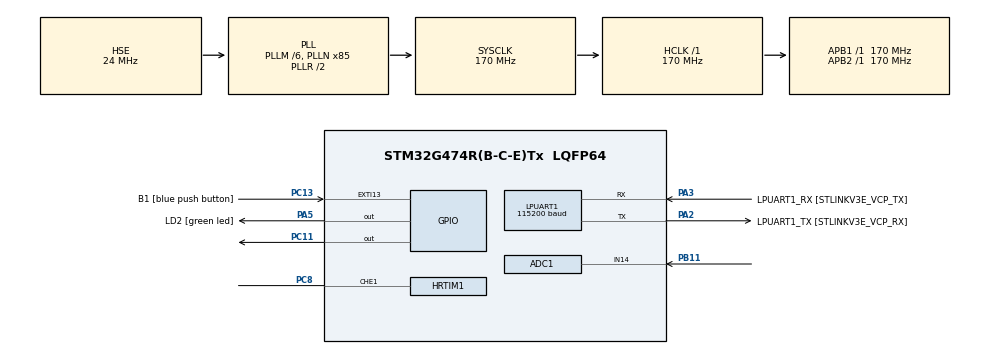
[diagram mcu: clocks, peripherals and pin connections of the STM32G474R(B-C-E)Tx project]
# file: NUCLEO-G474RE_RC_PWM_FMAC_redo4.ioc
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Mcu.Family=STM32G4
HRTIM1.NumberSetSource1-Output_TE1=1
RCC.CortexFreq_Value=170000000
ADC1.ContinuousConvMode=DISABLE
VP_FMAC_VS_FMAC.Mode=FMAC_Activate
Dma.ADC1.0.Polarity=HAL_DMAMUX_REQ_GEN_RISING
PA14.GPIO_Label=T_SWCLK
LPUART1.WordLength=UART_WORDLENGTH_8B
PC13.GPIO_Label=B1 [blue push button]
PB11.Signal=ADC1_IN14
RCC.SYSCLKSource=RCC_SYSCLKSOURCE_PLLCLK
ProjectManager.StackSize=0x400
Mcu.UserConstants=Vtarget,3000
ADC1.Offset-0\#ChannelRegularConversion=Vtarget
RCC.HCLKFreq_Value=170000000
RCC.APB2TimFreq_Value=170000000
Dma.ADC1.0.Direction=DMA_PERIPH_TO_MEMORY
Dma.ADC1.0.MemDataAlignment=DMA_MDATAALIGN_WORD
RCC.AHBFreq_Value=170000000
HRTIM1.NumberResetSource1-Output_TE1=1
NVIC.EXTI15_10_IRQn=true\:0\:0\:false\:false\:true\:true\:true
ADC1.Channel-0\#ChannelRegularConversion=ADC_CHANNEL_14
RCC.HSE_VALUE=24000000
PB3.Mode=Trace_Asynchronous_SW
RCC.ADC12Freq_Value=170000000
RCC.RTCClockSelection=RCC_RTCCLKSOURCE_LSE
PC14-OSC32_IN.Mode=LSE-External-Oscillator
PA14.Mode=Trace_Asynchronous_SW
Dma.ADC1.0.PeriphInc=DMA_PINC_DISABLE
VP_SYS_VS_DBSignals.Mode=DisableDeadBatterySignals
HRTIM1.ResetOutput1_Source1-Output_TE1=HRTIM_OUTPUTRESET_TIMCMP1
ADC1.SamplingTime-0\#ChannelRegularConversion=ADC_SAMPLETIME_24CYCLES_5
Mcu.Package=LQFP64
PA2.GPIO_Label=LPUART1_TX [STLINKV3E_VCP_RX]
HRTIM1.ADCTrigger1_Source1=HRTIM_ADCTRIGGEREVENT13_TIMERE_PERIOD
HRTIM1.NumberADCTriggerSource1=1
RCC.APB1TimFreq_Value=170000000
PF1-OSC_OUT.Mode=HSE-External-Oscillator
Dma.Request0=ADC1
ADC1.OffsetSign-0\#ChannelRegularConversion=ADC_OFFSET_SIGN_NEGATIVE
Dma.ADC1.0.EventEnable=DISABLE
PF1-OSC_OUT.Signal=RCC_OSC_OUT
RCC.HSI48_VALUE=48000000
PA3.Signal=LPUART1_RX
PB3.GPIO_Label=T_SWO
RCC.PLLSourceVirtual=RCC_PLLSOURCE_HSE
PC15-OSC32_OUT.Mode=LSE-External-Oscillator
Dma.ADC1.0.Instance=DMA1_Channel1
ADC1.Rank-0\#ChannelRegularConversion=1
Dma.ADC1.0.SyncRequestNumber=1
ADC1.OffsetNumber-0\#ChannelRegularConversion=ADC_OFFSET_1
PC13.Signal=GPXTI13
PC11.Signal=GPIO_Output
PC8.Signal=HRTIM1_CHE1
RCC.EXTERNAL_CLOCK_VALUE=12288000
PC14-OSC32_IN.Signal=RCC_OSC32_IN
HRTIM1.PrescalerRatio_TE=HRTIM_PRESCALERRATIO_MUL8
HRTIM1.CompareUnit1-Output_TE1=HRTIM_COMPAREUNIT_1
PA13.Signal=SYS_JTMS-SWDIO
PA3.Mode=Asynchronous
Dma.ADC1.0.PeriphDataAlignment=DMA_PDATAALIGN_WORD
PB11.Mode=IN14-Single-Ended
ProjectManager.TargetToolchain=STM32CubeIDE
Dma.ADC1.0.Mode=DMA_CIRCULAR
Dma.ADC1.0.SignalID=NONE
Dma.ADC1.0.SyncSignalID=NONE
Dma.ADC1.0.Priority=DMA_PRIORITY_MEDIUM
RCC.USBFreq_Value=170000000
PC15-OSC32_OUT.Signal=RCC_OSC32_OUT
PF0-OSC_IN.Mode=HSE-External-Oscillator
PA5.Signal=GPIO_Output
HRTIM1.ADCTrigger_Id1=HRTIM_ADCTRIGGER_1
board=NUCLEO-G474RE
RCC.VCOOutputFreq_Value=340000000
Dma.ADC1.0.SyncPolarity=HAL_DMAMUX_SYNC_NO_EVENT
RCC.ADC345Freq_Value=170000000
RCC.APB2Freq_Value=170000000
HRTIM1.CompareValue1-Output_TE1=8
NVIC.FMAC_IRQn=true\:0\:0\:false\:false\:true\:true\:true
ADC1.DMAContinuousRequests=ENABLE
PA13.Mode=Trace_Asynchronous_SW
Mcu.Name=STM32G474R(B-C-E)Tx
LPUART1.BaudRate=115200
HRTIM1.SetOutput1_Source1-Output_TE1=HRTIM_OUTPUTSET_TIMPER
PA13.GPIO_Label=T_SWDIO
PA2.Signal=LPUART1_TX
ADC1.ExternalTrigConv=ADC_EXTERNALTRIG_HRTIM_TRG1
PC8.Mode=Output_TE1
PC8.GPIO_Speed_High_Default=GPIO_SPEED_FREQ_LOW
PB3.Signal=SYS_JTDO-SWO
RCC.SYSCLKFreq_VALUE=170000000
ADC1.master=1
PA5.GPIO_Label=LD2 [green led]
Dma.ADC1.0.RequestNumber=1
Dma.ADC1.0.SyncEnable=DISABLE
PA14.Signal=SYS_JTCK-SWCLK
Dma.ADC1.0.MemInc=DMA_MINC_ENABLE
ProjectManager.HeapSize=0x200
RCC.HSI_VALUE=16000000
NVIC.PriorityGroup=NVIC_PRIORITYGROUP_4
ADC1.NbrOfConversionFlag=1
RCC.PLLM=RCC_PLLM_DIV6
RCC.PLLN=85
PA2.Mode=Asynchronous
NVIC.DMA1_Channel1_IRQn=true\:0\:0\:false\:false\:true\:false\:true
PF0-OSC_IN.Signal=RCC_OSC_IN
RCC.APB1Freq_Value=170000000
HRTIM1.Periode_TE=27200
PA3.GPIO_Label=LPUART1_RX [STLINKV3E_VCP_TX]

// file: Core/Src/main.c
/* USER CODE BEGIN Header */
/**
  ******************************************************************************
  * @file           : main.c
  * @brief          : Main program body
  ******************************************************************************
  * @attention
  *
  * <h2><center>&copy; Copyright (c) 2021 STMicroelectronics.
  * All rights reserved.</center></h2>
  *
  * This software component is licensed by ST under BSD 3-Clause license,
  * the "License"; You may not use this file except in compliance with the
  * License. You may obtain a copy of the License at:
  *                        opensource.org/licenses/BSD-3-Clause
  *
  ******************************************************************************
  */
/* USER CODE END Header */
#include "main.h"

ADC_HandleTypeDef hadc1;
DMA_HandleTypeDef hdma_adc1;

FMAC_HandleTypeDef hfmac;

HRTIM_HandleTypeDef hhrtim1;

UART_HandleTypeDef hlpuart1;

/* USER CODE BEGIN PV */

uint32_t adc_data;

/* FMAC configuration structure */
FMAC_FilterConfigTypeDef sFmacConfig;

/* Array of filter coefficients A (feedback coefficients) in Q1.15 format */
static int16_t aFilterCoeffA[COEFF_VECTOR_A_SIZE] = {A1,A2,A3};

/* Array of filter coefficients B (feed-forward taps) in Q1.15 format */
static int16_t aFilterCoeffB[COEFF_VECTOR_B_SIZE] = {-B0,-B1,-B2,-B3};

/* Array of output data to preload in Q1.15 format */
static int16_t aOutputDataToPreload[COEFF_VECTOR_A_SIZE] = {0x0000, 0x0000, 0x0000};

/* Expected number of calculated samples */
uint16_t ExpectedCalculatedOutputSize = (uint16_t) 1;
uint32_t *Fmac_Wdata;
int16_t Fmac_output;

/* USER CODE END PV */

void SystemClock_Config(void);
static void MX_GPIO_Init(void);
static void MX_DMA_Init(void);
static void MX_LPUART1_UART_Init(void);
static void MX_HRTIM1_Init(void);
static void MX_ADC1_Init(void);
static void MX_FMAC_Init(void);
/* USER CODE BEGIN PFP */

volatile void VT_FMAC_Controller(void);

/* USER CODE END PFP */

int main(void)
{

  /* MCU Configuration--------------------------------------------------------*/

  /* Reset of all peripherals, Initializes the Flash interface and the Systick. */
  HAL_Init();

  /* Configure the system clock */
  SystemClock_Config();

  /* Initialize all configured peripherals */
  MX_GPIO_Init();
  MX_DMA_Init();
  MX_LPUART1_UART_Init();
  MX_HRTIM1_Init();
  MX_ADC1_Init();
  MX_FMAC_Init();
  /* USER CODE BEGIN 2 */

  /*## Configure the FMAC peripheral ###########################################*/
  sFmacConfig.InputBaseAddress  = INPUT_BUFFER_BASE;
  sFmacConfig.InputBufferSize   = INPUT_BUFFER_SIZE;
  sFmacConfig.InputThreshold    = INPUT_THRESHOLD;
  sFmacConfig.CoeffBaseAddress  = COEFFICIENT_BUFFER_BASE;
  sFmacConfig.CoeffBufferSize   = COEFFICIENT_BUFFER_SIZE;
  sFmacConfig.OutputBaseAddress = OUTPUT_BUFFER_BASE;
  sFmacConfig.OutputBufferSize  = OUTPUT_BUFFER_SIZE;
  sFmacConfig.OutputThreshold   = OUTPUT_THRESHOLD;
  sFmacConfig.pCoeffA           = aFilterCoeffA;
  sFmacConfig.CoeffASize        = COEFF_VECTOR_A_SIZE;
  sFmacConfig.pCoeffB           = aFilterCoeffB;
  sFmacConfig.CoeffBSize        = COEFF_VECTOR_B_SIZE;
  sFmacConfig.Filter            = FMAC_FUNC_IIR_DIRECT_FORM_1;
  sFmacConfig.InputAccess       = FMAC_BUFFER_ACCESS_NONE;
  sFmacConfig.OutputAccess      = FMAC_BUFFER_ACCESS_IT;
  sFmacConfig.Clip              = FMAC_CLIP_ENABLED;
  sFmacConfig.P                 = COEFF_VECTOR_B_SIZE;
  sFmacConfig.Q                 = COEFF_VECTOR_A_SIZE;
  sFmacConfig.R                 = KC_shift;

  if (HAL_FMAC_FilterConfig(&hfmac, &sFmacConfig) != HAL_OK)
  {
    /* Configuration Error */
    Error_Handler();
  }

  /*## Preload the input and output buffers ####################################*/
  if (HAL_FMAC_FilterPreload(&hfmac, NULL, INPUT_BUFFER_SIZE,
                             aOutputDataToPreload, COEFF_VECTOR_A_SIZE) != HAL_OK)
  {
    /* Configuration Error */
    Error_Handler();
  }
  /* Start calculation of IIR filter */
   if (HAL_FMAC_FilterStart(&hfmac,&Fmac_output,&ExpectedCalculatedOutputSize) != HAL_OK)
  {
    /* Processing Error */
    Error_Handler();
  }

	/* Run the ADC calibration in single-ended mode */
	if (HAL_ADCEx_Calibration_Start(&hadc1, ADC_SINGLE_ENDED) != HAL_OK)
	{
		/* Calibration Error */
		Error_Handler();
	}

//	/*##- Enable Regular ADC DMA Channel ##############################*/
//	if (HAL_ADC_Start_DMA(&hadc1, &adc_data, 1) != HAL_OK)
//	{
//		/* ADC conversion start error */
//		Error_Handler();
//	}

	/* Start ADC and DMA */
	Fmac_Wdata = (uint32_t *) FMAC_WDATA;
	HAL_ADC_Start_DMA(&hadc1,Fmac_Wdata,1);

		if(HAL_OK != HAL_HRTIM_WaveformOutputStart(&hhrtim1, HRTIM_OUTPUT_TE1))
	{
		Error_Handler();
	}

	if(HAL_OK != HAL_HRTIM_WaveformCounterStart(&hhrtim1, HRTIM_TIMERID_TIMER_E))
	{
		Error_Handler();
	}

  /* USER CODE END 2 */

  /* Infinite loop */
  while (1)
  {

  }
}

void SystemClock_Config(void)
{
  RCC_OscInitTypeDef RCC_OscInitStruct = {0};
  RCC_ClkInitTypeDef RCC_ClkInitStruct = {0};
  RCC_PeriphCLKInitTypeDef PeriphClkInit = {0};

  /** Configure the main internal regulator output voltage
  */
  HAL_PWREx_ControlVoltageScaling(PWR_REGULATOR_VOLTAGE_SCALE1_BOOST);
  /** Initializes the RCC Oscillators according to the specified parameters
  * in the RCC_OscInitTypeDef structure.
  */
  RCC_OscInitStruct.OscillatorType = RCC_OSCILLATORTYPE_HSE;
  RCC_OscInitStruct.HSEState = RCC_HSE_ON;
  RCC_OscInitStruct.PLL.PLLState = RCC_PLL_ON;
  RCC_OscInitStruct.PLL.PLLSource = RCC_PLLSOURCE_HSE;
  RCC_OscInitStruct.PLL.PLLM = RCC_PLLM_DIV6;
  RCC_OscInitStruct.PLL.PLLN = 85;
  RCC_OscInitStruct.PLL.PLLP = RCC_PLLP_DIV2;
  RCC_OscInitStruct.PLL.PLLQ = RCC_PLLQ_DIV2;
  RCC_OscInitStruct.PLL.PLLR = RCC_PLLR_DIV2;
  if (HAL_RCC_OscConfig(&RCC_OscInitStruct) != HAL_OK)
  {
    Error_Handler();
  }
  /** Initializes the CPU, AHB and APB buses clocks
  */
  RCC_ClkInitStruct.ClockType = RCC_CLOCKTYPE_HCLK|RCC_CLOCKTYPE_SYSCLK
                              |RCC_CLOCKTYPE_PCLK1|RCC_CLOCKTYPE_PCLK2;
  RCC_ClkInitStruct.SYSCLKSource = RCC_SYSCLKSOURCE_PLLCLK;
  RCC_ClkInitStruct.AHBCLKDivider = RCC_SYSCLK_DIV1;
  RCC_ClkInitStruct.APB1CLKDivider = RCC_HCLK_DIV1;
  RCC_ClkInitStruct.APB2CLKDivider = RCC_HCLK_DIV1;

  if (HAL_RCC_ClockConfig(&RCC_ClkInitStruct, FLASH_LATENCY_4) != HAL_OK)
  {
    Error_Handler();
  }
  /** Initializes the peripherals clocks
  */
  PeriphClkInit.PeriphClockSelection = RCC_PERIPHCLK_LPUART1|RCC_PERIPHCLK_ADC12;
  PeriphClkInit.Lpuart1ClockSelection = RCC_LPUART1CLKSOURCE_PCLK1;
  PeriphClkInit.Adc12ClockSelection = RCC_ADC12CLKSOURCE_SYSCLK;
  if (HAL_RCCEx_PeriphCLKConfig(&PeriphClkInit) != HAL_OK)
  {
    Error_Handler();
  }
}

static void MX_ADC1_Init(void)
{

  ADC_MultiModeTypeDef multimode = {0};
  ADC_ChannelConfTypeDef sConfig = {0};

  /** Common config
  */
  hadc1.Instance = ADC1;
  hadc1.Init.ClockPrescaler = ADC_CLOCK_SYNC_PCLK_DIV4;
  hadc1.Init.Resolution = ADC_RESOLUTION_12B;
  hadc1.Init.DataAlign = ADC_DATAALIGN_RIGHT;
  hadc1.Init.GainCompensation = 0;
  hadc1.Init.ScanConvMode = ADC_SCAN_DISABLE;
  hadc1.Init.EOCSelection = ADC_EOC_SINGLE_CONV;
  hadc1.Init.LowPowerAutoWait = DISABLE;
  hadc1.Init.ContinuousConvMode = DISABLE;
  hadc1.Init.NbrOfConversion = 1;
  hadc1.Init.DiscontinuousConvMode = DISABLE;
  hadc1.Init.ExternalTrigConv = ADC_EXTERNALTRIG_HRTIM_TRG1;
  hadc1.Init.ExternalTrigConvEdge = ADC_EXTERNALTRIGCONVEDGE_RISING;
  hadc1.Init.DMAContinuousRequests = ENABLE;
  hadc1.Init.Overrun = ADC_OVR_DATA_PRESERVED;
  hadc1.Init.OversamplingMode = DISABLE;
  if (HAL_ADC_Init(&hadc1) != HAL_OK)
  {
    Error_Handler();
  }
  /** Configure the ADC multi-mode
  */
  multimode.Mode = ADC_MODE_INDEPENDENT;
  if (HAL_ADCEx_MultiModeConfigChannel(&hadc1, &multimode) != HAL_OK)
  {
    Error_Handler();
  }
  /** Configure Regular Channel
  */
  sConfig.Channel = ADC_CHANNEL_14;
  sConfig.Rank = ADC_REGULAR_RANK_1;
  sConfig.SamplingTime = ADC_SAMPLETIME_24CYCLES_5;
  sConfig.SingleDiff = ADC_SINGLE_ENDED;
  sConfig.OffsetNumber = ADC_OFFSET_1;
  sConfig.Offset = Vtarget;
  sConfig.OffsetSign = ADC_OFFSET_SIGN_NEGATIVE;
  sConfig.OffsetSaturation = DISABLE;
  if (HAL_ADC_ConfigChannel(&hadc1, &sConfig) != HAL_OK)
  {
    Error_Handler();
  }

}

static void MX_FMAC_Init(void)
{

  hfmac.Instance = FMAC;
  if (HAL_FMAC_Init(&hfmac) != HAL_OK)
  {
    Error_Handler();
  }

}

static void MX_HRTIM1_Init(void)
{

  HRTIM_ADCTriggerCfgTypeDef pADCTriggerCfg = {0};
  HRTIM_TimeBaseCfgTypeDef pTimeBaseCfg = {0};
  HRTIM_TimerCtlTypeDef pTimerCtl = {0};
  HRTIM_TimerCfgTypeDef pTimerCfg = {0};
  HRTIM_CompareCfgTypeDef pCompareCfg = {0};
  HRTIM_OutputCfgTypeDef pOutputCfg = {0};

  hhrtim1.Instance = HRTIM1;
  hhrtim1.Init.HRTIMInterruptResquests = HRTIM_IT_NONE;
  hhrtim1.Init.SyncOptions = HRTIM_SYNCOPTION_NONE;
  if (HAL_HRTIM_Init(&hhrtim1) != HAL_OK)
  {
    Error_Handler();
  }
  if (HAL_HRTIM_DLLCalibrationStart(&hhrtim1, HRTIM_CALIBRATIONRATE_3) != HAL_OK)
  {
    Error_Handler();
  }
  if (HAL_HRTIM_PollForDLLCalibration(&hhrtim1, 10) != HAL_OK)
  {
    Error_Handler();
  }
  pADCTriggerCfg.UpdateSource = HRTIM_ADCTRIGGERUPDATE_TIMER_E;
  pADCTriggerCfg.Trigger = HRTIM_ADCTRIGGEREVENT13_TIMERE_PERIOD;
  if (HAL_HRTIM_ADCTriggerConfig(&hhrtim1, HRTIM_ADCTRIGGER_1, &pADCTriggerCfg) != HAL_OK)
  {
    Error_Handler();
  }
  if (HAL_HRTIM_ADCPostScalerConfig(&hhrtim1, HRTIM_ADCTRIGGER_1, 0x0) != HAL_OK)
  {
    Error_Handler();
  }
  pTimeBaseCfg.Period = 27200;
  pTimeBaseCfg.RepetitionCounter = 0x00;
  pTimeBaseCfg.PrescalerRatio = HRTIM_PRESCALERRATIO_MUL8;
  pTimeBaseCfg.Mode = HRTIM_MODE_CONTINUOUS;
  if (HAL_HRTIM_TimeBaseConfig(&hhrtim1, HRTIM_TIMERINDEX_TIMER_E, &pTimeBaseCfg) != HAL_OK)
  {
    Error_Handler();
  }
  pTimerCtl.UpDownMode = HRTIM_TIMERUPDOWNMODE_UP;
  pTimerCtl.GreaterCMP1 = HRTIM_TIMERGTCMP1_EQUAL;
  pTimerCtl.DualChannelDacEnable = HRTIM_TIMER_DCDE_DISABLED;
  if (HAL_HRTIM_WaveformTimerControl(&hhrtim1, HRTIM_TIMERINDEX_TIMER_E, &pTimerCtl) != HAL_OK)
  {
    Error_Handler();
  }
  pTimerCfg.InterruptRequests = HRTIM_MASTER_IT_NONE;
  pTimerCfg.DMARequests = HRTIM_TIM_DMA_NONE;
  pTimerCfg.DMASrcAddress = 0x0000;
  pTimerCfg.DMADstAddress = 0x0000;
  pTimerCfg.DMASize = 0x1;
  pTimerCfg.HalfModeEnable = HRTIM_HALFMODE_DISABLED;
  pTimerCfg.InterleavedMode = HRTIM_INTERLEAVED_MODE_DISABLED;
  pTimerCfg.StartOnSync = HRTIM_SYNCSTART_DISABLED;
  pTimerCfg.ResetOnSync = HRTIM_SYNCRESET_DISABLED;
  pTimerCfg.DACSynchro = HRTIM_DACSYNC_NONE;
  pTimerCfg.PreloadEnable = HRTIM_PRELOAD_DISABLED;
  pTimerCfg.UpdateGating = HRTIM_UPDATEGATING_INDEPENDENT;
  pTimerCfg.BurstMode = HRTIM_TIMERBURSTMODE_MAINTAINCLOCK;
  pTimerCfg.RepetitionUpdate = HRTIM_UPDATEONREPETITION_DISABLED;
  pTimerCfg.PushPull = HRTIM_TIMPUSHPULLMODE_DISABLED;
  pTimerCfg.FaultEnable = HRTIM_TIMFAULTENABLE_NONE;
  pTimerCfg.FaultLock = HRTIM_TIMFAULTLOCK_READWRITE;
  pTimerCfg.DeadTimeInsertion = HRTIM_TIMDEADTIMEINSERTION_DISABLED;
  pTimerCfg.DelayedProtectionMode = HRTIM_TIMER_D_E_DELAYEDPROTECTION_DISABLED;
  pTimerCfg.UpdateTrigger = HRTIM_TIMUPDATETRIGGER_NONE;
  pTimerCfg.ResetTrigger = HRTIM_TIMRESETTRIGGER_NONE;
  pTimerCfg.ResetUpdate = HRTIM_TIMUPDATEONRESET_DISABLED;
  pTimerCfg.ReSyncUpdate = HRTIM_TIMERESYNC_UPDATE_UNCONDITIONAL;
  if (HAL_HRTIM_WaveformTimerConfig(&hhrtim1, HRTIM_TIMERINDEX_TIMER_E, &pTimerCfg) != HAL_OK)
  {
    Error_Handler();
  }
  pCompareCfg.CompareValue = 8;
  if (HAL_HRTIM_WaveformCompareConfig(&hhrtim1, HRTIM_TIMERINDEX_TIMER_E, HRTIM_COMPAREUNIT_1, &pCompareCfg) != HAL_OK)
  {
    Error_Handler();
  }
  pOutputCfg.Polarity = HRTIM_OUTPUTPOLARITY_HIGH;
  pOutputCfg.SetSource = HRTIM_OUTPUTSET_TIMPER;
  pOutputCfg.ResetSource = HRTIM_OUTPUTRESET_TIMCMP1;
  pOutputCfg.IdleMode = HRTIM_OUTPUTIDLEMODE_NONE;
  pOutputCfg.IdleLevel = HRTIM_OUTPUTIDLELEVEL_INACTIVE;
  pOutputCfg.FaultLevel = HRTIM_OUTPUTFAULTLEVEL_NONE;
  pOutputCfg.ChopperModeEnable = HRTIM_OUTPUTCHOPPERMODE_DISABLED;
  pOutputCfg.BurstModeEntryDelayed = HRTIM_OUTPUTBURSTMODEENTRY_REGULAR;
  if (HAL_HRTIM_WaveformOutputConfig(&hhrtim1, HRTIM_TIMERINDEX_TIMER_E, HRTIM_OUTPUT_TE1, &pOutputCfg) != HAL_OK)
  {
    Error_Handler();
  }
  HAL_HRTIM_MspPostInit(&hhrtim1);

}

static void MX_LPUART1_UART_Init(void)
{

  hlpuart1.Instance = LPUART1;
  hlpuart1.Init.BaudRate = 115200;
  hlpuart1.Init.WordLength = UART_WORDLENGTH_8B;
  hlpuart1.Init.StopBits = UART_STOPBITS_1;
  hlpuart1.Init.Parity = UART_PARITY_NONE;
  hlpuart1.Init.Mode = UART_MODE_TX_RX;
  hlpuart1.Init.HwFlowCtl = UART_HWCONTROL_NONE;
  hlpuart1.Init.OneBitSampling = UART_ONE_BIT_SAMPLE_DISABLE;
  hlpuart1.Init.ClockPrescaler = UART_PRESCALER_DIV1;
  hlpuart1.AdvancedInit.AdvFeatureInit = UART_ADVFEATURE_NO_INIT;
  if (HAL_UART_Init(&hlpuart1) != HAL_OK)
  {
    Error_Handler();
  }
  if (HAL_UARTEx_SetTxFifoThreshold(&hlpuart1, UART_TXFIFO_THRESHOLD_1_8) != HAL_OK)
  {
    Error_Handler();
  }
  if (HAL_UARTEx_SetRxFifoThreshold(&hlpuart1, UART_RXFIFO_THRESHOLD_1_8) != HAL_OK)
  {
    Error_Handler();
  }
  if (HAL_UARTEx_DisableFifoMode(&hlpuart1) != HAL_OK)
  {
    Error_Handler();
  }

}

static void MX_DMA_Init(void)
{

  /* DMA controller clock enable */
  __HAL_RCC_DMAMUX1_CLK_ENABLE();
  __HAL_RCC_DMA1_CLK_ENABLE();

  /* DMA interrupt init */
  /* DMA1_Channel1_IRQn interrupt configuration */
  HAL_NVIC_SetPriority(DMA1_Channel1_IRQn, 0, 0);
  HAL_NVIC_EnableIRQ(DMA1_Channel1_IRQn);

}

static void MX_GPIO_Init(void)
{
  GPIO_InitTypeDef GPIO_InitStruct = {0};

  /* GPIO Ports Clock Enable */
  __HAL_RCC_GPIOC_CLK_ENABLE();
  __HAL_RCC_GPIOF_CLK_ENABLE();
  __HAL_RCC_GPIOA_CLK_ENABLE();
  __HAL_RCC_GPIOB_CLK_ENABLE();

  /*Configure GPIO pin Output Level */
  HAL_GPIO_WritePin(LD2_GPIO_Port, LD2_Pin, GPIO_PIN_RESET);

  /*Configure GPIO pin Output Level */
  HAL_GPIO_WritePin(GPIOC, GPIO_PIN_11, GPIO_PIN_RESET);

  /*Configure GPIO pin : B1_Pin */
  GPIO_InitStruct.Pin = B1_Pin;
  GPIO_InitStruct.Mode = GPIO_MODE_IT_RISING;
  GPIO_InitStruct.Pull = GPIO_NOPULL;
  HAL_GPIO_Init(B1_GPIO_Port, &GPIO_InitStruct);

  /*Configure GPIO pin : LD2_Pin */
  GPIO_InitStruct.Pin = LD2_Pin;
  GPIO_InitStruct.Mode = GPIO_MODE_OUTPUT_PP;
  GPIO_InitStruct.Pull = GPIO_NOPULL;
  GPIO_InitStruct.Speed = GPIO_SPEED_FREQ_LOW;
  HAL_GPIO_Init(LD2_GPIO_Port, &GPIO_InitStruct);

  /*Configure GPIO pin : PC11 */
  GPIO_InitStruct.Pin = GPIO_PIN_11;
  GPIO_InitStruct.Mode = GPIO_MODE_OUTPUT_PP;
  GPIO_InitStruct.Pull = GPIO_NOPULL;
  GPIO_InitStruct.Speed = GPIO_SPEED_FREQ_LOW;
  HAL_GPIO_Init(GPIOC, &GPIO_InitStruct);

  /* EXTI interrupt init*/
  HAL_NVIC_SetPriority(EXTI15_10_IRQn, 0, 0);
  HAL_NVIC_EnableIRQ(EXTI15_10_IRQn);

}

/* USER CODE BEGIN 4 */

HAL_ADC_ConvCpltCallback(ADC_HandleTypeDef *hadc)
{
  /* Prevent unused argument(s) compilation warning */
  UNUSED(hadc);

  /* NOTE : This function should not be modified. When the callback is needed,
			function HAL_ADC_ConvCpltCallback must be implemented in the user file.
   */

//  HAL_GPIO_WritePin(GPIOA, GPIO_PIN_5, SET);
  HAL_GPIO_TogglePin(GPIOC, GPIO_PIN_11);
  //adc_data = HAL_ADC_GetValue(hadc);
}

volatile void VT_FMAC_Controller(void)
{
	uint32_t tmp = READ_REG(hfmac.Instance->RDATA);
	tmp = (tmp > 0x00007FFF ? 0 : tmp);

	// Period is 27200, limit max duty to 27000
	if (tmp > 27200)
		tmp = 27000;
	if (tmp <= 10)
		tmp = 10;

	__HAL_HRTIM_SETCOMPARE( &hhrtim1, HRTIM_TIMERINDEX_TIMER_E, HRTIM_COMPAREUNIT_1, tmp);
}

/* USER CODE END 4 */

void Error_Handler(void)
{
  __disable_irq();
  while (1)
  {
  }
}

/************************ (C) COPYRIGHT STMicroelectronics *****END OF FILE****/
